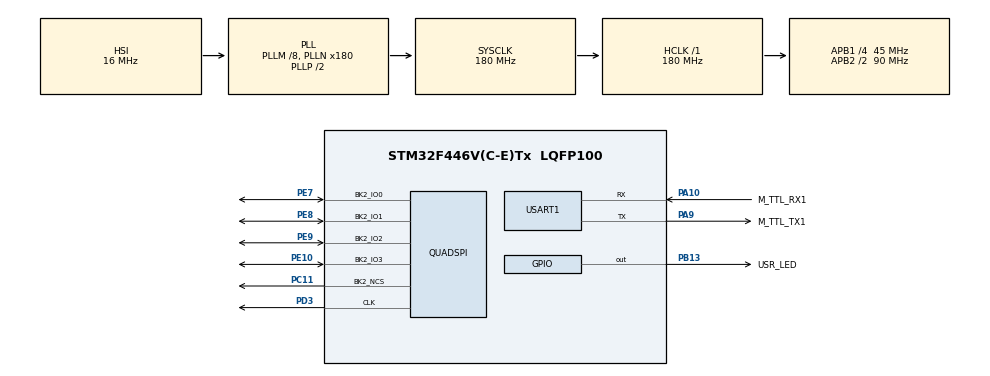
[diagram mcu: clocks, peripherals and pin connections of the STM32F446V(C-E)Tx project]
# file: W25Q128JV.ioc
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Dma.QUADSPI.0.Direction=DMA_PERIPH_TO_MEMORY
Dma.QUADSPI.0.FIFOMode=DMA_FIFOMODE_DISABLE
Dma.QUADSPI.0.Instance=DMA2_Stream7
Dma.QUADSPI.0.MemDataAlignment=DMA_MDATAALIGN_BYTE
Dma.QUADSPI.0.MemInc=DMA_MINC_ENABLE
Dma.QUADSPI.0.Mode=DMA_NORMAL
Dma.QUADSPI.0.PeriphDataAlignment=DMA_PDATAALIGN_BYTE
Dma.QUADSPI.0.PeriphInc=DMA_PINC_DISABLE
Dma.QUADSPI.0.Priority=DMA_PRIORITY_LOW
Dma.Request0=QUADSPI
Dma.Request1=USART1_RX
Dma.USART1_RX.1.Direction=DMA_PERIPH_TO_MEMORY
Dma.USART1_RX.1.FIFOMode=DMA_FIFOMODE_DISABLE
Dma.USART1_RX.1.Instance=DMA2_Stream2
Dma.USART1_RX.1.MemDataAlignment=DMA_MDATAALIGN_BYTE
Dma.USART1_RX.1.MemInc=DMA_MINC_ENABLE
Dma.USART1_RX.1.Mode=DMA_CIRCULAR
Dma.USART1_RX.1.PeriphDataAlignment=DMA_PDATAALIGN_BYTE
Dma.USART1_RX.1.PeriphInc=DMA_PINC_DISABLE
Dma.USART1_RX.1.Priority=DMA_PRIORITY_LOW
Mcu.Family=STM32F4
Mcu.Name=STM32F446V(C-E)Tx
Mcu.Package=LQFP100
NVIC.DMA2_Stream2_IRQn=true\:0\:0\:false\:false\:true\:false\:true
NVIC.DMA2_Stream7_IRQn=true\:0\:0\:false\:false\:true\:false\:true
NVIC.PriorityGroup=NVIC_PRIORITYGROUP_4
NVIC.QUADSPI_IRQn=true\:0\:0\:false\:false\:true\:true\:true
NVIC.USART1_IRQn=true\:0\:0\:false\:false\:true\:true\:true
PA10.GPIO_Label=M_TTL_RX1
PA10.Mode=Asynchronous
PA10.Signal=USART1_RX
PA13.Mode=Serial_Wire
PA13.Signal=SYS_JTMS-SWDIO
PA14.Mode=Serial_Wire
PA14.Signal=SYS_JTCK-SWCLK
PA9.GPIO_Label=M_TTL_TX1
PA9.Mode=Asynchronous
PA9.Signal=USART1_TX
PB13.GPIO_Label=USR_LED
PB13.Signal=GPIO_Output
PC11.Mode=Single Bank 2
PC11.Signal=QUADSPI_BK2_NCS
PD3.Mode=Single Bank 2
PD3.Signal=QUADSPI_CLK
PE10.Mode=Single Bank 2
PE10.Signal=QUADSPI_BK2_IO3
PE7.Mode=Single Bank 2
PE7.Signal=QUADSPI_BK2_IO0
PE8.Mode=Single Bank 2
PE8.Signal=QUADSPI_BK2_IO1
PE9.Mode=Single Bank 2
PE9.Signal=QUADSPI_BK2_IO2
ProjectManager.HeapSize=0x200
ProjectManager.StackSize=0x400
ProjectManager.TargetToolchain=TrueSTUDIO
QUADSPI.ClockPrescaler=1
QUADSPI.FlashSize=23
RCC.AHBFreq_Value=180000000
RCC.APB1CLKDivider=RCC_HCLK_DIV4
RCC.APB1Freq_Value=45000000
RCC.APB1TimFreq_Value=90000000
RCC.APB2CLKDivider=RCC_HCLK_DIV2
RCC.APB2Freq_Value=90000000
RCC.APB2TimFreq_Value=180000000
RCC.CortexFreq_Value=180000000
RCC.HCLKFreq_Value=180000000
RCC.PLLM=8
RCC.PLLN=180
RCC.SYSCLKFreq_VALUE=180000000
RCC.SYSCLKSource=RCC_SYSCLKSOURCE_PLLCLK
RCC.USBFreq_Value=180000000
RCC.VCOOutputFreq_Value=360000000
USART1.VirtualMode=VM_ASYNC
board=custom

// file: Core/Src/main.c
/* USER CODE BEGIN Header */
/**
 ******************************************************************************
 * @file           : main.c
 * @brief          : Main program body
 ******************************************************************************
 * @attention
 *
 * <h2><center>&copy; Copyright (c) 2020 STMicroelectronics.
 * All rights reserved.</center></h2>
 *
 * This software component is licensed by ST under BSD 3-Clause license,
 * the "License"; You may not use this file except in compliance with the
 * License. You may obtain a copy of the License at:
 *                        opensource.org/licenses/BSD-3-Clause
 *
 ******************************************************************************
 */
/* USER CODE END Header */
#include "main.h"
#include "dma.h"
#include "quadspi.h"
#include "usart.h"
#include "gpio.h"

/* USER CODE BEGIN Includes */
#include "w25q128jv.h"
#include "callback.h"
#include "wrap.h"
#include "string.h"
#include "stdio.h"
#include "jedec.h"
/* USER CODE END Includes */

/* USER CODE BEGIN PV */
volatile enum DATA_TRANSFER uart_transmission,qspi_transmission,qspi_reception,qspi_cmd_transmission;
volatile enum STATUS_MATCH qspi_status_match;
char output[200];
/* USER CODE END PV */

void SystemClock_Config(void);

int main(void)
{

	/* MCU Configuration--------------------------------------------------------*/

	/* Reset of all peripherals, Initializes the Flash interface and the Systick. */
	HAL_Init();

	/* Configure the system clock */
	SystemClock_Config();

	/* Initialize all configured peripherals */
	MX_GPIO_Init();
	MX_DMA_Init();
	MX_QUADSPI_Init();
	MX_USART1_UART_Init();

	/* Infinite loop */
	/* USER CODE BEGIN WHILE */

	SW25Q128JV_Handle OW25Q128JV_Hdle;
	EW25Q128JVErrorCode error_w25q128jv_write_enable,error_w25q128jv_read_stat_reg,error_w25q128jv_write_stat_reg,error_w25q128jv_qspi_enable;
	EW25Q128JVErrorCode error_w25q128jv_fast_read_quad_io,error_w25q128jv_quad_input_page_program,error_w25q128jv_wait_until_busy_reset;
	EW25Q128JVErrorCode err_w25q128jv_erase,err_w25q128jv_read_unique_id,errw25q128jv_read_jedec_id;
	OW25Q128JV_Hdle.qspi_command_send	=	wrap_qspi_command_send;
	OW25Q128JV_Hdle.qspi_receive	=wrap_qspi_receive;
	OW25Q128JV_Hdle.qspi_transmit=wrap_qspi_transmit;
	OW25Q128JV_Hdle.qspi_auto_polling=wrap_qspi_auto_polling;
	uint8_t status_register_1;
	uint8_t status_register_2;
	uint8_t readbuff[256]={0},txbuf[260];
	sprintf(txbuf,"0123456789101112131415161718192021222324252627282930313233343536373839404142434445464748495051525354555657585960616263646566676869707172737475767778798081828384858687888990919293949596979899100101102103104105106107108109110111112113114115116117118119120121");
	uint64_t uid=0;
	SJEDEC_ID jedec;

	err_w25q128jv_erase=w25q128jv_erase_4kb(&OW25Q128JV_Hdle,0);
		error_w25q128jv_fast_read_quad_io=w25q128jv_fast_read_quad_io(&OW25Q128JV_Hdle,0,readbuff,256);
		sprintf(output,"\r\n fast read quad io after erase \r\n");
			uart_transmission=START;
			if(HAL_UART_Transmit_IT(&huart1,output,strlen(output))	!=	HAL_OK)
			{
				Error_Handler();
			}
			else
			{
				while(uart_transmission!=END);
			}

				uart_transmission=START;
				if(HAL_UART_Transmit_IT(&huart1,readbuff,256)	!=	HAL_OK)
				{
					Error_Handler();
				}
				else
				{
					while(uart_transmission!=END);
				}
				error_w25q128jv_quad_input_page_program=w25q128jv_quad_input_page_program(&OW25Q128JV_Hdle,0,txbuf,256);

				error_w25q128jv_fast_read_quad_io=w25q128jv_fast_read_quad_io(&OW25Q128JV_Hdle,0,readbuff,256);
					sprintf(output,"\r\n fast read quad io after erase \r\n");
						uart_transmission=START;
						if(HAL_UART_Transmit_IT(&huart1,output,strlen(output))	!=	HAL_OK)
						{
							Error_Handler();
						}
						else
						{
							while(uart_transmission!=END);
						}

							uart_transmission=START;
							if(HAL_UART_Transmit_IT(&huart1,readbuff,256)	!=	HAL_OK)
							{
								Error_Handler();
							}
							else
							{
								while(uart_transmission!=END);
							}

	while (1)
	{

		HAL_Delay(1000);
		HAL_GPIO_TogglePin(USR_LED_GPIO_Port,USR_LED_Pin);
		/* USER CODE END WHILE */

	}
}

void SystemClock_Config(void)
{
	RCC_OscInitTypeDef RCC_OscInitStruct = {0};
	RCC_ClkInitTypeDef RCC_ClkInitStruct = {0};

	/** Configure the main internal regulator output voltage
	 */
	__HAL_RCC_PWR_CLK_ENABLE();
	__HAL_PWR_VOLTAGESCALING_CONFIG(PWR_REGULATOR_VOLTAGE_SCALE1);
	/** Initializes the RCC Oscillators according to the specified parameters
	 * in the RCC_OscInitTypeDef structure.
	 */
	RCC_OscInitStruct.OscillatorType = RCC_OSCILLATORTYPE_HSI;
	RCC_OscInitStruct.HSIState = RCC_HSI_ON;
	RCC_OscInitStruct.HSICalibrationValue = RCC_HSICALIBRATION_DEFAULT;
	RCC_OscInitStruct.PLL.PLLState = RCC_PLL_ON;
	RCC_OscInitStruct.PLL.PLLSource = RCC_PLLSOURCE_HSI;
	RCC_OscInitStruct.PLL.PLLM = 8;
	RCC_OscInitStruct.PLL.PLLN = 180;
	RCC_OscInitStruct.PLL.PLLP = RCC_PLLP_DIV2;
	RCC_OscInitStruct.PLL.PLLQ = 2;
	RCC_OscInitStruct.PLL.PLLR = 2;
	if (HAL_RCC_OscConfig(&RCC_OscInitStruct) != HAL_OK)
	{
		Error_Handler();
	}
	/** Activate the Over-Drive mode
	 */
	if (HAL_PWREx_EnableOverDrive() != HAL_OK)
	{
		Error_Handler();
	}
	/** Initializes the CPU, AHB and APB buses clocks
	 */
	RCC_ClkInitStruct.ClockType = RCC_CLOCKTYPE_HCLK|RCC_CLOCKTYPE_SYSCLK
			|RCC_CLOCKTYPE_PCLK1|RCC_CLOCKTYPE_PCLK2;
	RCC_ClkInitStruct.SYSCLKSource = RCC_SYSCLKSOURCE_PLLCLK;
	RCC_ClkInitStruct.AHBCLKDivider = RCC_SYSCLK_DIV1;
	RCC_ClkInitStruct.APB1CLKDivider = RCC_HCLK_DIV4;
	RCC_ClkInitStruct.APB2CLKDivider = RCC_HCLK_DIV2;

	if (HAL_RCC_ClockConfig(&RCC_ClkInitStruct, FLASH_LATENCY_5) != HAL_OK)
	{
		Error_Handler();
	}
}

void Error_Handler(void)
{
}

/************************ (C) COPYRIGHT STMicroelectronics *****END OF FILE****/
